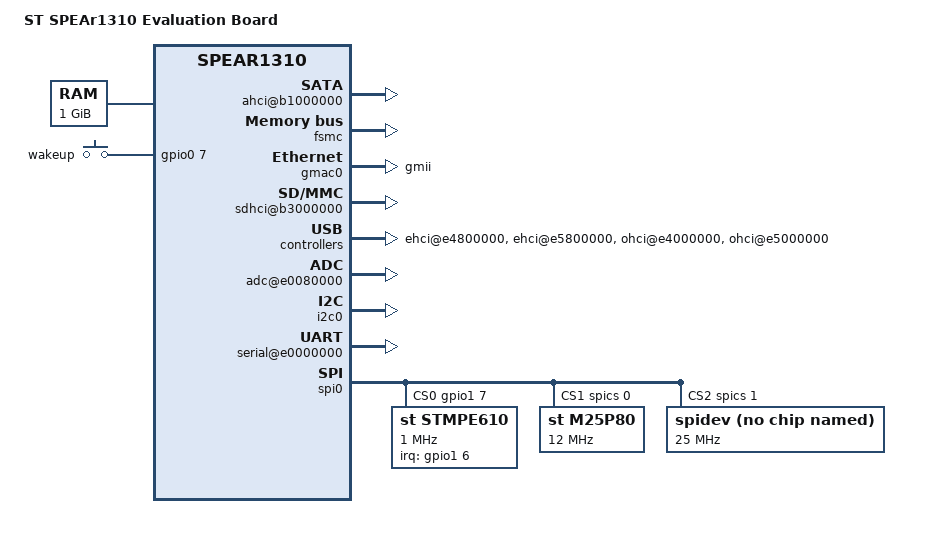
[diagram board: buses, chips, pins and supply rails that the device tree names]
/*
 * DTS file for SPEAr1310 Evaluation Baord
 *
 * Copyright 2012 Viresh Kumar <viresh.linux@gmail.com>
 *
 * The code contained herein is licensed under the GNU General Public
 * License. You may obtain a copy of the GNU General Public License
 * Version 2 or later at the following locations:
 *
 * http://www.opensource.org/licenses/gpl-license.html
 * http://www.gnu.org/copyleft/gpl.html
 */

/dts-v1/;
/include/ "spear1310.dtsi"

/ {
	model = "ST SPEAr1310 Evaluation Board";
	compatible = "st,spear1310-evb", "st,spear1310";
	#address-cells = <1>;
	#size-cells = <1>;

	memory {
		reg = <0 0x40000000>;
	};

	ahb {
		pinmux@e0700000 {
			pinctrl-names = "default";
			pinctrl-0 = <&state_default>;

			state_default: pinmux {
				i2c0 {
					st,pins = "i2c0_grp";
					st,function = "i2c0";
				};
				i2s0 {
					st,pins = "i2s0_grp";
					st,function = "i2s0";
				};
				i2s1 {
					st,pins = "i2s1_grp";
					st,function = "i2s1";
				};
				gpio {
					st,pins = "arm_gpio_grp";
					st,function = "arm_gpio";
				};
				clcd {
					st,pins = "clcd_grp" , "clcd_high_res";
					st,function = "clcd";
				};
				eth {
					st,pins = "gmii_grp";
					st,function = "gmii";
				};
				ssp0 {
					st,pins = "ssp0_grp";
					st,function = "ssp0";
				};
				kbd {
					st,pins = "keyboard_6x6_grp";
					st,function = "keyboard";
				};
				sdhci {
					st,pins = "sdhci_grp";
					st,function = "sdhci";
				};
				smi-pmx {
					st,pins = "smi_2_chips_grp";
					st,function = "smi";
				};
				uart0 {
					st,pins = "uart0_grp";
					st,function = "uart0";
				};
				rs485 {
					st,pins = "rs485_0_1_tdm_0_1_grp";
					st,function = "rs485_0_1_tdm_0_1";
				};
				i2c1_2 {
					st,pins = "i2c_1_2_grp";
					st,function = "i2c_1_2";
				};
				smii {
					st,pins = "smii_0_1_2_grp";
					st,function = "smii_0_1_2";
				};
				nand {
					st,pins = "nand_8bit_grp",
						"nand_16bit_grp";
					st,function = "nand";
				};
				sata {
					st,pins = "sata0_grp";
					st,function = "sata";
				};
				pcie {
					st,pins = "pcie1_grp", "pcie2_grp";
					st,function = "pci_express";
				};
			};
		};

		ahci@b1000000 {
			status = "okay";
		};

		cf@b2800000 {
			status = "okay";
		};

		dma@ea800000 {
			status = "okay";
		};

		dma@eb000000 {
			status = "okay";
		};

		fsmc: flash@b0000000 {
			status = "okay";

			partition@0 {
				label = "xloader";
				reg = <0x0 0x80000>;
			};
			partition@80000 {
				label = "u-boot";
				reg = <0x80000 0x140000>;
			};
			partition@1C0000 {
				label = "environment";
				reg = <0x1C0000 0x40000>;
			};
			partition@200000 {
				label = "dtb";
				reg = <0x200000 0x40000>;
			};
			partition@240000 {
				label = "linux";
				reg = <0x240000 0xC00000>;
			};
			partition@E40000 {
				label = "rootfs";
				reg = <0xE40000 0x0>;
			};
		};

		gpio_keys {
			compatible = "gpio-keys";
			#address-cells = <1>;
			#size-cells = <0>;

			button@1 {
				label = "wakeup";
				linux,code = <0x100>;
				gpios = <&gpio0 7 0x4>;
				debounce-interval = <20>;
				gpio-key,wakeup = <1>;
			};
		};

		gmac0: eth@e2000000 {
			phy-mode = "gmii";
			status = "okay";
		};

		sdhci@b3000000 {
			status = "okay";
		};

		smi: flash@ea000000 {
			status = "okay";
			clock-rate=<50000000>;

			flash@e6000000 {
				#address-cells = <1>;
				#size-cells = <1>;
				reg = <0xe6000000 0x800000>;
				st,smi-fast-mode;

				partition@0 {
					label = "xloader";
					reg = <0x0 0x10000>;
				};
				partition@10000 {
					label = "u-boot";
					reg = <0x10000 0x50000>;
				};
				partition@60000 {
					label = "environment";
					reg = <0x60000 0x10000>;
				};
				partition@70000 {
					label = "dtb";
					reg = <0x70000 0x10000>;
				};
				partition@80000 {
					label = "linux";
					reg = <0x80000 0x310000>;
				};
				partition@390000 {
					label = "rootfs";
					reg = <0x390000 0x0>;
				};
			};
		};

		ehci@e4800000 {
			status = "okay";
		};

		ehci@e5800000 {
			status = "okay";
		};

		ohci@e4000000 {
			status = "okay";
		};

		ohci@e5000000 {
			status = "okay";
		};

		apb {
			adc@e0080000 {
				status = "okay";
			};

			gpio0: gpio@e0600000 {
			       status = "okay";
			};

			gpio1: gpio@e0680000 {
			       status = "okay";
			};

			gpio@d8400000 {
			       status = "okay";
			};

			i2c0: i2c@e0280000 {
			       status = "okay";
			};

			kbd@e0300000 {
				linux,keymap = < 0x00000001
						 0x00010002
						 0x00020003
						 0x00030004
						 0x00040005
						 0x00050006
						 0x00060007
						 0x00070008
						 0x00080009
						 0x0100000a
						 0x0101000c
						 0x0102000d
						 0x0103000e
						 0x0104000f
						 0x01050010
						 0x01060011
						 0x01070012
						 0x01080013
						 0x02000014
						 0x02010015
						 0x02020016
						 0x02030017
						 0x02040018
						 0x02050019
						 0x0206001a
						 0x0207001b
						 0x0208001c
						 0x0300001d
						 0x0301001e
						 0x0302001f
						 0x03030020
						 0x03040021
						 0x03050022
						 0x03060023
						 0x03070024
						 0x03080025
						 0x04000026
						 0x04010027
						 0x04020028
						 0x04030029
						 0x0404002a
						 0x0405002b
						 0x0406002c
						 0x0407002d
						 0x0408002e
						 0x0500002f
						 0x05010030
						 0x05020031
						 0x05030032
						 0x05040033
						 0x05050034
						 0x05060035
						 0x05070036
						 0x05080037
						 0x06000038
						 0x06010039
						 0x0602003a
						 0x0603003b
						 0x0604003c
						 0x0605003d
						 0x0606003e
						 0x0607003f
						 0x06080040
						 0x07000041
						 0x07010042
						 0x07020043
						 0x07030044
						 0x07040045
						 0x07050046
						 0x07060047
						 0x07070048
						 0x07080049
						 0x0800004a
						 0x0801004b
						 0x0802004c
						 0x0803004d
						 0x0804004e
						 0x0805004f
						 0x08060050
						 0x08070051
						 0x08080052 >;
			       autorepeat;
			       st,mode = <0>;
			       suspended_rate = <2000000>;
			       status = "okay";
			};

			rtc@e0580000 {
			       status = "okay";
			};

			serial@e0000000 {
			       status = "okay";
				pinctrl-names = "default";
				pinctrl-0 = <>;
			};

			spi0: spi@e0100000 {
				status = "okay";
				num-cs = <3>;
				cs-gpios = <&gpio1 7 0>, <&spics 0>, <&spics 1>;

				stmpe610@0 {
					compatible = "st,stmpe610";
					reg = <0>;
					#address-cells = <1>;
					#size-cells = <0>;
					spi-max-frequency = <1000000>;
					spi-cpha;
					pl022,hierarchy = <0>;
					pl022,interface = <0>;
					pl022,slave-tx-disable;
					pl022,com-mode = <0>;
					pl022,rx-level-trig = <0>;
					pl022,tx-level-trig = <0>;
					pl022,ctrl-len = <0x7>;
					pl022,wait-state = <0>;
					pl022,duplex = <0>;
					interrupts = <6 0x4>;
					interrupt-parent = <&gpio1>;
					irq-trigger = <0x2>;

					stmpe_touchscreen {
						compatible = "st,stmpe-ts";
						ts,sample-time = <4>;
						ts,mod-12b = <1>;
						ts,ref-sel = <0>;
						ts,adc-freq = <1>;
						ts,ave-ctrl = <1>;
						ts,touch-det-delay = <2>;
						ts,settling = <2>;
						ts,fraction-z = <7>;
						ts,i-drive = <1>;
					};
				};

				m25p80@1 {
					compatible = "st,m25p80";
					reg = <1>;
					spi-max-frequency = <12000000>;
					spi-cpol;
					spi-cpha;
					pl022,hierarchy = <0>;
					pl022,interface = <0>;
					pl022,slave-tx-disable;
					pl022,com-mode = <0x2>;
					pl022,rx-level-trig = <0>;
					pl022,tx-level-trig = <0>;
					pl022,ctrl-len = <0x11>;
					pl022,wait-state = <0>;
					pl022,duplex = <0>;
				};

				spidev@2 {
					compatible = "spidev";
					reg = <2>;
					spi-max-frequency = <25000000>;
					spi-cpha;
					pl022,hierarchy = <0>;
					pl022,interface = <0>;
					pl022,slave-tx-disable;
					pl022,com-mode = <0x2>;
					pl022,rx-level-trig = <0>;
					pl022,tx-level-trig = <0>;
					pl022,ctrl-len = <0x11>;
					pl022,wait-state = <0>;
					pl022,duplex = <0>;
				};
			};

			wdt@ec800620 {
			       status = "okay";
			};
		};
	};
};
